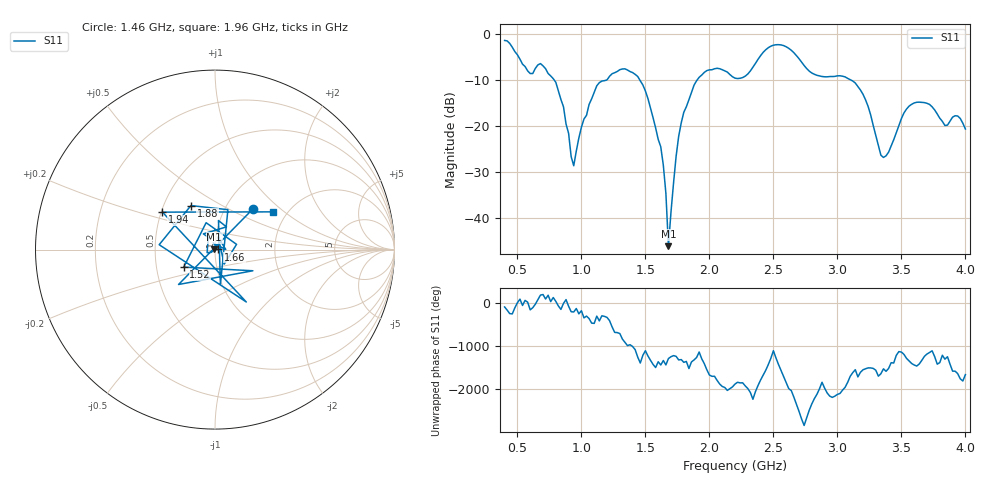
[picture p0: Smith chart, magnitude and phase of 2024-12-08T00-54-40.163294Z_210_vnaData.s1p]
!Created with skrf (http://scikit-rf.org).
# Hz S RI R 50.0
!freq ReS11 ImS11
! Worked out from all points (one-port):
!   181 points, 400 MHz to 4 GHz, reference 50 ohm
!   lowest |S11| = -46.0 dB at 1.68 GHz (marker M1), VSWR 1.01, Z = 49.6 + j0.247 ohm
!   |S11| at or under -10 dB: 788.4 MHz to 1.193 GHz (404.2 MHz wide, 40.8 % of centre); 1.457 GHz to 1.903 GHz (445.9 MHz wide, 26.5 % of centre); 3.109 GHz to end of sweep
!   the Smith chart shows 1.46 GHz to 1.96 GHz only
!   S11 on the Smith chart (normalised r, x): 1.46 GHz: 1.34, +0.68; 1.52 GHz: 0.69, -0.14; 1.66 GHz: 1.04, +0.00; 1.88 GHz: 0.68, +0.36; 1.94 GHz: 0.51, +0.24; 1.96 GHz: 1.69, +0.83
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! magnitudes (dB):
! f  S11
! 400 MHz  -1.4
! 600 MHz  -8.6
! 720 MHz  -7.5
! 860 MHz  -15.8
! 940 MHz  -28.6
! 1 GHz  -20.2
! 1.12 GHz  -11.2
! 1.3 GHz  -7.7
! 1.46 GHz  -10.1
! 1.52 GHz  -14.0
! 1.62 GHz  -24.5
! 1.66 GHz  -34.5
! 1.68 GHz  -46.0
! 1.76 GHz  -22.2
! 1.88 GHz  -11.1
! 1.94 GHz  -8.9
! 1.96 GHz  -8.3
! 2.2 GHz  -9.6
! 2.48 GHz  -2.6
! 2.66 GHz  -4.0
! 2.82 GHz  -8.7
! 3.1 GHz  -9.9
! 3.22 GHz  -14.3
! 3.36 GHz  -26.8
! 3.56 GHz  -15.6
! 3.7 GHz  -15.0
! 3.84 GHz  -19.8
! 4 GHz  -20.6
